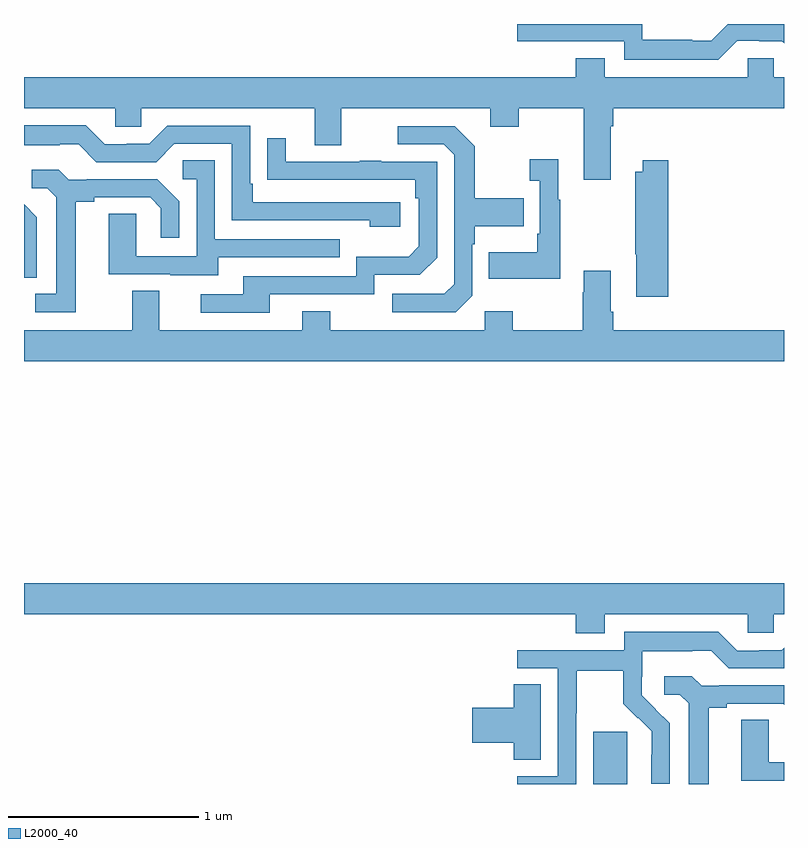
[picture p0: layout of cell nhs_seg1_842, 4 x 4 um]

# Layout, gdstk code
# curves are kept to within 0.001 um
import gdstk
lib = gdstk.Library(unit=1e-6, precision=1e-09)
def R(c, l, rs):  # rectangles x0, y0, x1, y1
    for r in rs: c.add(gdstk.rectangle(r[:2], r[2:], *l))
def P(c, l, *ps):  # polygons
    for p in ps: c.add(gdstk.Polygon(p, *l))
L2000_40 = (2000, 40)

nhs_seg1_842 = lib.new_cell('nhs_seg1_842')
R(nhs_seg1_842, L2000_40, [(159.995,524.199,160.174,524.475)])
P(nhs_seg1_842, L2000_40, [(160.755,528.111),(160.871,528.111),(160.871,528.108),(160.989,528.108),(161,528.097),(161,528.199),(160.705,528.199),(160.617,528.111),(160.517,528.111),(160.517,528.115),(160.254,528.115),(160.254,528.199),(159.597,528.199),(159.597,528.108),(160.158,528.108),(160.158,528.011),(160.655,528.011)],
  [(160.087,527.66),(160.1,527.66),(160.1,527.756),(161,527.756),(161,527.92),(160.947,527.92),(160.947,528.018),(160.809,528.018),(160.809,527.92),(160.057,527.92),(160.057,528.019),(159.905,528.019),(159.905,527.92),(157,527.92),(157,527.756),(157.479,527.756),(157.479,527.658),(157.617,527.658),(157.617,527.756),(158.531,527.756),(158.531,527.562),(158.671,527.562),(158.671,527.756),(159.455,527.756),(159.455,527.657),(159.603,527.657),(159.603,527.756),(159.947,527.756),(159.947,527.379),(160.087,527.379)],
  [(158.98,527.262),(158.203,527.262),(158.203,527.359),(158.19,527.359),(158.19,527.664),(157.755,527.664),(157.659,527.568),(157.541,527.568),(157.541,527.565),(157.425,527.565),(157.325,527.665),(157,527.665),(157,527.561),(157.187,527.561),(157.187,527.565),(157.287,527.565),(157.38,527.472),(157.695,527.472),(157.791,527.568),(158.094,527.568),(158.094,527.166),(158.819,527.166),(158.819,527.132),(158.98,527.132)],
  [(159.36,526.77),(159.36,527.039),(159.373,527.039),(159.373,527.135),(159.629,527.135),(159.629,527.283),(159.373,527.283),(159.373,527.555),(159.267,527.661),(158.967,527.661),(158.967,527.565),(159.21,527.565),(159.264,527.511),(159.264,526.83),(159.213,526.779),(158.937,526.779),(158.937,526.683),(159.273,526.683)],
  [(158.293,526.776),(158.844,526.776),(158.844,526.878),(159.084,526.878),(159.174,526.968),(159.174,527.475),(158.879,527.475),(158.879,527.48),(158.767,527.48),(158.767,527.475),(158.377,527.475),(158.377,527.599),(158.281,527.599),(158.281,527.38),(159.058,527.379),(159.058,527.282),(159.078,527.282),(159.078,527.028),(159.025,526.975),(158.748,526.975),(158.748,526.872),(158.153,526.872),(158.153,526.776),(157.929,526.776),(157.929,526.68),(158.293,526.68)],
  [(159.823,527.275),(159.811,527.275),(159.811,527.488),(159.663,527.488),(159.663,527.375),(159.714,527.375),(159.714,527.095),(159.702,527.095),(159.702,526.999),(159.445,526.999),(159.445,526.859),(159.823,526.859)],
  [(158.023,526.971),(158.663,526.971),(158.663,527.067),(158.004,527.067),(158.004,527.483),(157.836,527.483),(157.836,527.382),(157.908,527.382),(157.908,526.977),(157.59,526.977),(157.59,527.201),(157.445,527.201),(157.445,526.881),(157.769,526.881),(157.769,526.877),(158.023,526.877)],
  [(160.391,527.482),(160.256,527.482),(160.256,527.422),(160.216,527.422),(160.216,526.987),(160.223,526.987),(160.223,526.764),(160.391,526.764)],
  [(157.273,527.264),(157.369,527.264),(157.369,527.286),(157.664,527.286),(157.721,527.229),(157.721,527.073),(157.818,527.073),(157.818,527.266),(157.702,527.382),(157.33,527.382),(157.33,527.379),(157.236,527.379),(157.184,527.431),(157.041,527.431),(157.041,527.334),(157.122,527.334),(157.169,527.287),(157.169,526.779),(157.059,526.779),(157.059,526.683),(157.273,526.683)],
  [(157.068,527.182),(157,527.25),(157,526.864),(157.068,526.864)],
  [(161,526.588),(160.1,526.588),(160.1,526.684),(160.087,526.684),(160.087,526.9),(159.947,526.9),(159.947,526.787),(159.94,526.787),(159.94,526.588),(159.573,526.588),(159.573,526.687),(159.426,526.687),(159.426,526.588),(158.613,526.588),(158.613,526.687),(158.465,526.687),(158.465,526.588),(157.711,526.588),(157.711,526.796),(157.571,526.796),(157.571,526.588),(157,526.588),(157,526.424),(161,526.424)],
  [(160.057,525.092),(160.809,525.092),(160.809,524.994),(160.947,524.994),(160.947,525.092),(161,525.092),(161,525.256),(157,525.256),(157,525.092),(159.905,525.092),(159.905,524.993),(160.057,524.993)],
  [(159.906,524.572),(159.909,524.572),(159.909,524.796),(160.153,524.796),(160.153,524.621),(160.23,524.544),(160.233,524.547),(160.304,524.477),(160.304,524.354),(160.302,524.354),(160.302,524.2),(160.398,524.2),(160.398,524.518),(160.252,524.666),(160.252,524.763),(160.254,524.763),(160.254,524.897),(160.517,524.897),(160.517,524.901),(160.617,524.901),(160.71,524.808),(161,524.808),(161,524.915),(160.989,524.904),(160.871,524.904),(160.871,524.901),(160.755,524.901),(160.655,525.001),(160.158,525.001),(160.158,524.904),(159.597,524.904),(159.597,524.808),(159.81,524.808),(159.81,524.241),(159.597,524.241),(159.597,524.199),(159.906,524.199)],
  [(160.603,524.6),(160.699,524.6),(160.699,524.622),(160.994,524.622),(161,524.616),(161,524.718),(160.66,524.718),(160.66,524.715),(160.566,524.715),(160.514,524.767),(160.371,524.767),(160.371,524.67),(160.452,524.67),(160.499,524.623),(160.499,524.199),(160.603,524.199)],
  [(159.721,524.723),(159.578,524.723),(159.578,524.6),(159.36,524.6),(159.36,524.417),(159.578,524.417),(159.578,524.326),(159.721,524.326)],
  [(161,524.313),(160.92,524.313),(160.92,524.537),(160.775,524.537),(160.775,524.217),(161,524.217)])

lib.write_gds('nhs_seg1_842.gds')
